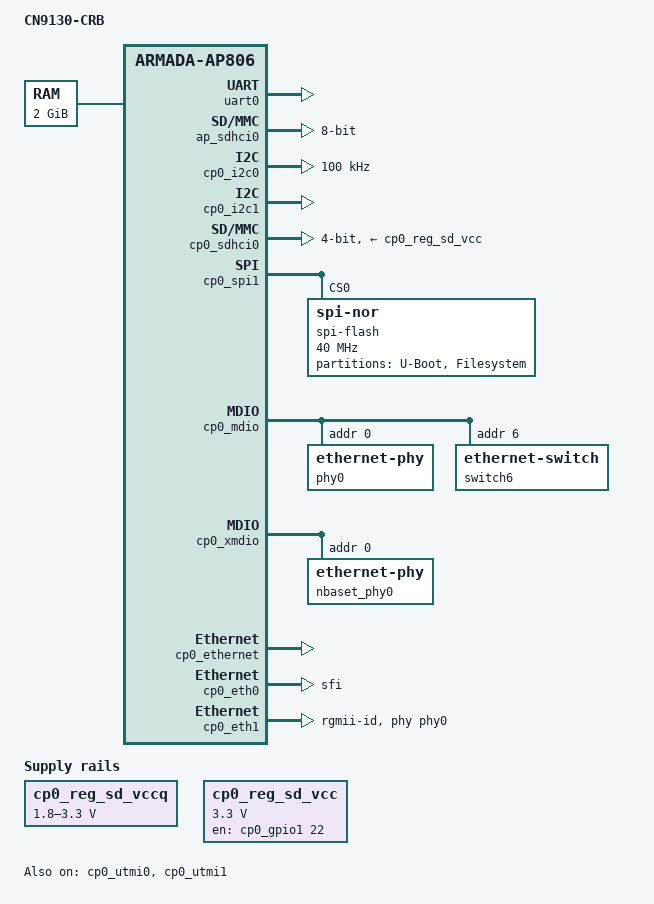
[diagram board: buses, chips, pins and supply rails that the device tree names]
// SPDX-License-Identifier: GPL-2.0+
/*
 * Copyright (C) 2019 Marvell International Ltd.
 */

#include "cn9130.dtsi" /* include SoC device tree */

/ {
	model = "CN9130-CRB";
	compatible = "marvell,cn9130-crb",
		"marvell,cn9130",
		"marvell,armada-ap806-quad",
		"marvell,armada-ap806";
	chosen {
		stdout-path = "serial0:115200n8";
	};

	aliases {
		i2c0 = &cp0_i2c0;
		spi0 = &cp0_spi1;
		gpio0 = &ap_gpio0;
		gpio1 = &cp0_gpio0;
		gpio2 = &cp0_gpio1;
	};

	memory@00000000 {
		device_type = "memory";
		reg = <0x0 0x0 0x0 0x80000000>;
	};

	cp0 {
		config-space {
			sdhci@780000 {
				vqmmc-supply = <&cp0_reg_sd_vccq>;
				vmmc-supply = <&cp0_reg_sd_vcc>;
			};
			cp0_reg_sd_vccq: cp0_sd_vccq@0 {
				compatible = "regulator-gpio";
				regulator-name = "cp0_sd_vccq";
				regulator-min-microvolt = <1800000>;
				regulator-max-microvolt = <3300000>;
				gpios = <&cp0_gpio1 18 GPIO_ACTIVE_HIGH>;
				states = <1800000 0x1
					  3300000 0x0>;
			};
			cp0_reg_sd_vcc: cp0_sd_vcc@0 {
				compatible = "regulator-fixed";
				regulator-name = "cp0_sd_vcc";
				regulator-min-microvolt = <3300000>;
				regulator-max-microvolt = <3300000>;
				gpio = <&cp0_gpio1 22 GPIO_ACTIVE_HIGH>;
				enable-active-high;
				regulator-always-on;
			};
		};
	};
};

&uart0 {
	status = "okay";
};

/*
 * AP related configuration
 */
&ap_pinctl {
	/* MPP Bus:
	 * SDIO  [0-10, 12]
	 * UART0 [11,19]
	 */
		/*   0 1 2 3 4 5 6 7 8 9 */
	pin-func = < 1 1 1 1 1 1 1 1 1 1
		     1 3 1 0 0 0 0 0 0 3 >;
};

/* on-board eMMC - U6 */
&ap_sdhci0 {
	pinctrl-names = "default";
	pinctrl-0 = <&ap_emmc_pins>;
	bus-width = <8>;
	status = "okay";
};

/*
 * CP related configuration
 */
&cp0_pinctl {
	/* MPP Bus:
	 *	[0-11]	RGMII1
	 *	[12] GPIO
	 *	[13-16] SPI1
	 *	[17-32] GPIO
	 *	[33]	SD_PWR_OFF
	 *	[34]	CP_PCIE0_CLKREQn
	 *	[35-38]	I2C1 I2C0
	 *	[39]	GPIO
	 *	[40-43]	SMI/XSMI
	 *	[44-46]	GPIO
	 *	[47]	UART1_TX
	 *	[48]	GPIO
	 *	[49]	SD_HST_18_EN
	 *	[50]	GPIO
	 *	[51]	SD_PWR_0
	 *	[52]	PCIE_RSTn
	 *	[53]	UART1_RX
	 *	[54]	GPIO
	 *	[55]	SD_DT
	 *	[56-61]	SDIO
	 *
	 * Note that CRB board revisions have different MPP configurations.
	 * r1p2 has SPI flash on MPP[30:27] and r1p3.1, which is the latest
	 * board revision, has it mapped to MPP[16:13].
	 */
		/*   0   1   2   3   4   5   6   7   8   9 */
	pin-func = < 3   3   3   3   3   3   3   3   3   3
		     3   3   0   3   3   3   3   0   0   0
		     0   0   0   0   0   0   0   0   0   0
		     0   0   0   6   9   2   2   2   2   0
		     8   8   8   8   0   0   0   7   0   0xa
		     0   0xa 9   7   0   0xb 0xe 0xe 0xe 0xe
		     0xe 0xe 0xe>;

	cp0_sdhci_cd_pins_crb: cp0-sdhci-cd-pins-crb {
		marvell,pins = < 55 >;
		marvell,function = <0>;
	};

	cp0_smi_pins_crb: cp0-smi-pins-crb {
		marvell,pins = < 40 41 >;
		marvell,function = <8>;
	};

	cp0_xsmi_pins_crb: cp0-xsmi-pins-crb {
		marvell,pins = < 42 43 >;
		marvell,function = <8>;
	};

};

/*
 * CP0
 */
&cp0_i2c0 {
	pinctrl-names = "default";
	pinctrl-0 = <&cp0_i2c0_pins>;
	status = "okay";
	clock-frequency = <100000>;
};

&cp0_i2c1 {
	pinctrl-names = "default";
	pinctrl-0 = <&cp0_i2c1_pins>;
	status = "okay";
};

&cp0_sdhci0 {
	pinctrl-names = "default";
	pinctrl-0 = <&cp0_sdhci_pins
		     &cp0_sdhci_cd_pins_crb>;
	bus-width = <4>;
	vqmmc-supply = <&cp0_reg_sd_vccq>;
	vmmc-supply = <&cp0_reg_sd_vcc>;
	status = "okay";
};

&cp0_spi1 {
	pinctrl-names = "default";
	pinctrl-0 = <&cp0_spi1_pins>;
	reg = <0x700680 0x50>,		/* control */
	      <0x2000000 0x1000000>,	/* CS0 */
	      <0 0xffffffff>,		/* CS1 */
	      <0 0xffffffff>,		/* CS2 */
	      <0 0xffffffff>;		/* CS3 */
	status = "okay";

	spi-flash@0 {
		#address-cells = <0x1>;
		#size-cells = <0x1>;
		compatible = "jedec,spi-nor", "spi-flash";
		reg = <0x0>;
		/* On-board MUX does not allow higher frequencies */
		spi-max-frequency = <40000000>;

		partitions {
			compatible = "fixed-partitions";
			#address-cells = <1>;
			#size-cells = <1>;

			partition@0 {
				label = "U-Boot";
				reg = <0x0 0x200000>;
			};

			partition@400000 {
				label = "Filesystem";
				reg = <0x200000 0xe00000>;
			};
		};
	};
};

&cp0_utmi0 {
	status = "okay";
};

&cp0_utmi1 {
	status = "okay";
};

&cp0_mdio {
	pinctrl-names = "default";
	pinctrl-0 = <&cp0_smi_pins_crb>;
	status = "okay";
	phy0: ethernet-phy@0 {
		reg = <0>;
	};
	switch6: ethernet-switch@6 {
		reg = <6>;
	};
};

&cp0_xmdio {
	pinctrl-names = "default";
	pinctrl-0 = <&cp0_xsmi_pins_crb>;
	status = "okay";
	nbaset_phy0: ethernet-phy@0 {
		reg = <0>;
	};
};

&cp0_ethernet {
	status = "okay";
};

&cp0_eth0 {
	status = "okay";
	phy-mode = "sfi";
};

&cp0_eth1 {
	status = "okay";
	pinctrl-names = "default";
	pinctrl-0 = <&cp0_ge1_rgmii_pins>;
	phy = <&phy0>;
	phy-mode = "rgmii-id";
};

&cp0_eth2 {
	/* Disable it for now, as mainline does not support this IF yet */
	status = "disabled";
	phy = <&nbaset_phy0>;
};
